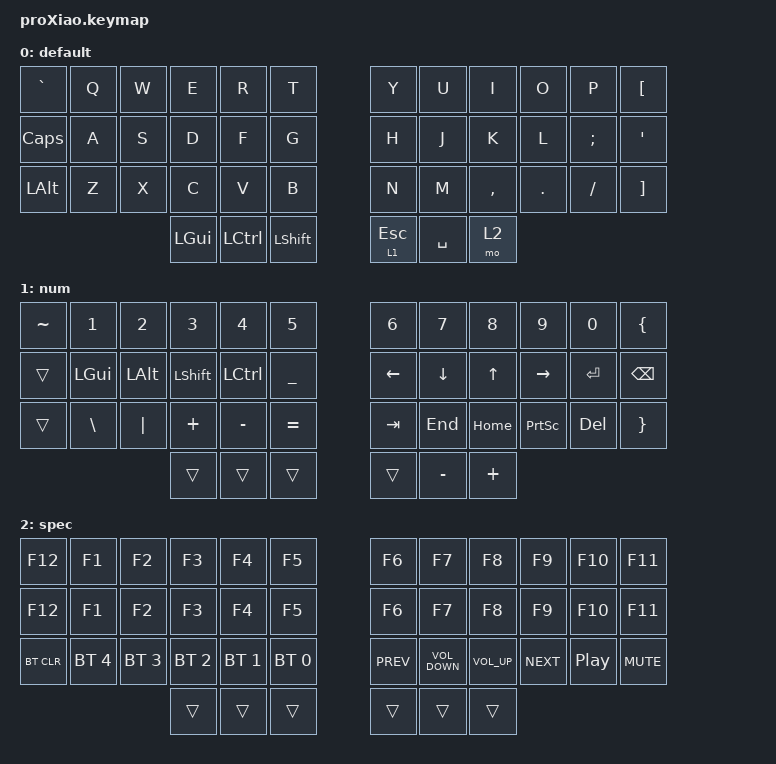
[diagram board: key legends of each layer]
/*
 * Copyright (c) 2020 The ZMK Contributors
 *
 * SPDX-License-Identifier: MIT
 */

#include <behaviors.dtsi>
#include <dt-bindings/zmk/bt.h>
#include <dt-bindings/zmk/keys.h>

#define DEF 0
#define LWR 1
#define RSE 2
#define ADJ 3

&lt {
    quick_tap_ms = <220>;
};

&mt {
    quick_tap_ms = <220>;
};

/ {
    macros {
    };
};

/ {
    keymap {
        compatible = "zmk,keymap";

        default_layer {
            // ------------------------------------------------------------------------------------------------
            //| LGUI/] |  Q  |  W  |  E  |  R  |  T  |   |  Y  |  U   |  I  |  O  |  P  | RGUI/[ | 
            //| CTRL/` |  A  |  S  |  D  |  F  |  G  |   |  H  |  J   |  K  |  L  |  ;  | CTRL/' |
            //| LALT/\ |  Z  |  X  |  C  |  V  |  B  |   |  N  |  M   |  ,  |  .  |  /  | RALT/- |
            //                             | RSE | SPC | LWR |   | LWR | BKSP | RSE |

            bindings = <
&kp GRAVE  &kp Q  &kp W  &kp E     &kp R      &kp T      &kp Y      &kp U      &kp I      &kp O    &kp P     &kp LBKT
&kp CAPS   &kp A  &kp S  &kp D     &kp F      &kp G      &kp H      &kp J      &kp K      &kp L    &kp SEMI  &kp SQT
&kp LALT   &kp Z  &kp X  &kp C     &kp V      &kp B      &kp N      &kp M      &kp COMMA  &kp DOT  &kp FSLH  &kp RBKT
                         &kp LGUI  &kp LCTRL  &kp LSHFT  &lt 1 ESC  &kp SPACE  &mo 2
            >;

            label = "default";
        };

        numbers_layer {
            // -----------------------------------------------------------------------------------------
            //|LGUI/CAPS |  *  |  7 |  8  |  9  |  +  |    |  !  |  @  |  #  |  $  |  %  | RGUI/F1 |
            //|CTRL/MENU |  /  |  4 |  5  |  6  |  -  |    |  ^  |  &  |  *  |  (  |  )  | CTRL/F2 |
            //|  LALT/=  |  0  |  1 |  4  |  3  |  .  |    |  ls |  F4 |  F5 |  F6 |  F7 | RALT/F3 |
            //                      | ADJ | ___ | ___ |    | ___ | ___ | ADJ |

            bindings = <
&kp TILDE  &kp N1         &kp N2    &kp N3     &kp N4     &kp N5     &kp N6    &kp N7     &kp N8    &kp N9           &kp N0     &kp LEFT_BRACE
&trans     &kp LGUI       &kp LALT  &kp LSHFT  &kp LCTRL  &kp UNDER  &kp LEFT  &kp DOWN   &kp UP    &kp RIGHT        &kp ENTER  &kp BACKSPACE
&trans     &kp BACKSLASH  &kp PIPE  &kp PLUS   &kp MINUS  &kp EQUAL  &kp TAB   &kp END    &kp HOME  &kp PRINTSCREEN  &kp DEL    &kp RIGHT_BRACE
                                    &trans     &trans     &trans     &trans    &kp MINUS  &kp PLUS
            >;

            label = "num";
        };

        special_layer {
            // -----------------------------------------------------------------------------------------
            //| BLDR |     |     |     |     |     |   |     |     |     |     |     | BLDR |
            //| BTCLR| BT0 | BT1 | BT2 | BT3 | BT4 |   | BT4 | BT3 | BT2 | BT1 | BT0 | BTCLR|
            //|pwrOFF|NUMLK|     |     |     |     |   |     |     |     |     |     |      |
            //                   |     |     |     |   |     |     |     |

            bindings = <
&kp F12     &kp F1        &kp F2        &kp F3        &kp F4        &kp F5        &kp F6      &kp F7             &kp F8           &kp F9      &kp F10           &kp F11
&kp F12     &kp F1        &kp F2        &kp F3        &kp F4        &kp F5        &kp F6      &kp F7             &kp F8           &kp F9      &kp F10           &kp F11
&bt BT_CLR  &bt BT_SEL 4  &bt BT_SEL 3  &bt BT_SEL 2  &bt BT_SEL 1  &bt BT_SEL 0  &kp C_PREV  &kp C_VOLUME_DOWN  &kp C_VOLUME_UP  &kp C_NEXT  &kp C_PLAY_PAUSE  &kp C_MUTE
                                        &trans        &trans        &trans        &trans      &trans             &trans
            >;

            label = "spec";
        };
    };

    conditional_layers {
        compatible = "zmk,conditional-layers";
    };
};
